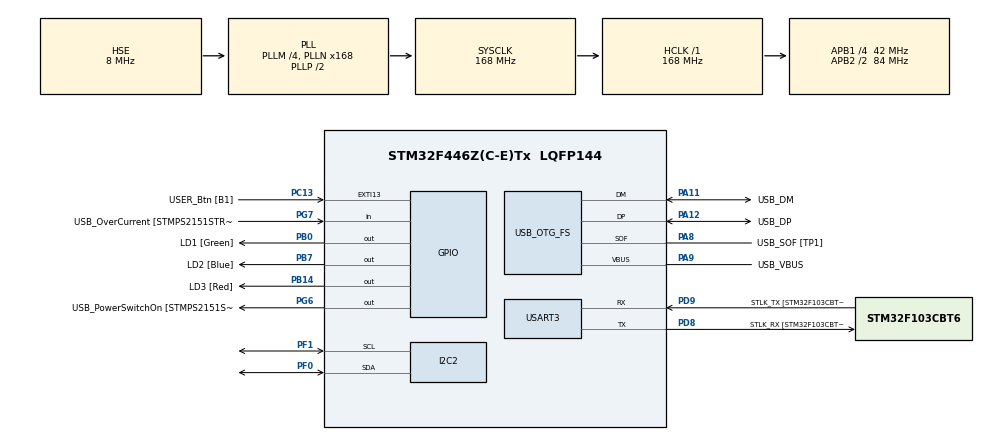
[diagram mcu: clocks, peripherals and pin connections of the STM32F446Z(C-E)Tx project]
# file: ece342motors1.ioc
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Dma.Request0=USART3_TX
Dma.USART3_TX.0.Direction=DMA_MEMORY_TO_PERIPH
Dma.USART3_TX.0.FIFOMode=DMA_FIFOMODE_DISABLE
Dma.USART3_TX.0.Instance=DMA1_Stream3
Dma.USART3_TX.0.MemDataAlignment=DMA_MDATAALIGN_BYTE
Dma.USART3_TX.0.MemInc=DMA_MINC_ENABLE
Dma.USART3_TX.0.Mode=DMA_NORMAL
Dma.USART3_TX.0.PeriphDataAlignment=DMA_PDATAALIGN_BYTE
Dma.USART3_TX.0.PeriphInc=DMA_PINC_DISABLE
Dma.USART3_TX.0.Priority=DMA_PRIORITY_LOW
Mcu.Family=STM32F4
Mcu.Name=STM32F446Z(C-E)Tx
Mcu.Package=LQFP144
NVIC.DMA1_Stream3_IRQn=true\:0\:0\:false\:false\:true\:false\:true\:true
NVIC.PriorityGroup=NVIC_PRIORITYGROUP_4
PA10.GPIO_Label=USB_ID
PA10.Signal=USB_OTG_FS_ID
PA11.GPIO_Label=USB_DM
PA11.Mode=Device_Only
PA11.Signal=USB_OTG_FS_DM
PA12.GPIO_Label=USB_DP
PA12.Mode=Device_Only
PA12.Signal=USB_OTG_FS_DP
PA13.GPIO_Label=TMS
PA13.Mode=Serial_Wire
PA13.Signal=SYS_JTMS-SWDIO
PA14.GPIO_Label=TCK
PA14.Mode=Serial_Wire
PA14.Signal=SYS_JTCK-SWCLK
PA8.GPIO_Label=USB_SOF [TP1]
PA8.Mode=Activate_SOF_FS
PA8.Signal=USB_OTG_FS_SOF
PA9.GPIO_Label=USB_VBUS
PA9.Mode=Activate_VBUS
PA9.Signal=USB_OTG_FS_VBUS
PB0.GPIO_Label=LD1 [Green]
PB0.Signal=GPIO_Output
PB14.GPIO_Label=LD3 [Red]
PB14.Signal=GPIO_Output
PB7.GPIO_Label=LD2 [Blue]
PB7.Signal=GPIO_Output
PC13.GPIO_Label=USER_Btn [B1]
PC13.Signal=GPXTI13
PC14-OSC32_IN.Mode=LSE-External-Oscillator
PC14-OSC32_IN.Signal=RCC_OSC32_IN
PC15-OSC32_OUT.Mode=LSE-External-Oscillator
PC15-OSC32_OUT.Signal=RCC_OSC32_OUT
PD8.GPIO_Label=STLK_RX [STM32F103CBT6_PA3]
PD8.Mode=Asynchronous
PD8.Signal=USART3_TX
PD9.GPIO_Label=STLK_TX [STM32F103CBT6_PA2]
PD9.Mode=Asynchronous
PD9.Signal=USART3_RX
PF0.Mode=I2C
PF0.Signal=I2C2_SDA
PF1.Mode=I2C
PF1.Signal=I2C2_SCL
PG6.GPIO_Label=USB_PowerSwitchOn [STMPS2151STR_EN]
PG6.Signal=GPIO_Output
PG7.GPIO_Label=USB_OverCurrent [STMPS2151STR_FAULT]
PG7.Signal=GPIO_Input
PH0-OSC_IN.GPIO_Label=MCO [STM32F103CBT6_PA8]
PH0-OSC_IN.Mode=HSE-External-Clock-Source
PH0-OSC_IN.Signal=RCC_OSC_IN
PH1-OSC_OUT.Mode=HSE-External-Clock-Source
PH1-OSC_OUT.Signal=RCC_OSC_OUT
ProjectManager.HeapSize=0x200
ProjectManager.StackSize=0x400
ProjectManager.TargetToolchain=STM32CubeIDE
RCC.48MHZClocksFreq_Value=24000000
RCC.AHBFreq_Value=168000000
RCC.APB1CLKDivider=RCC_HCLK_DIV4
RCC.APB1Freq_Value=42000000
RCC.APB1TimFreq_Value=84000000
RCC.APB2CLKDivider=RCC_HCLK_DIV2
RCC.APB2Freq_Value=84000000
RCC.APB2TimFreq_Value=168000000
RCC.CortexFreq_Value=168000000
RCC.HCLKFreq_Value=168000000
RCC.HSE_VALUE=8000000
RCC.HSI_VALUE=16000000
RCC.PLLM=4
RCC.PLLMUL=RCC_PLL_MUL9
RCC.PLLN=168
RCC.PLLQ=7
RCC.PRESCALERUSB=RCC_USBCLKSOURCE_PLL_DIV1_5
RCC.SYSCLKFreq_VALUE=168000000
RCC.SYSCLKSource=RCC_SYSCLKSOURCE_PLLCLK
RCC.SYSCLKSourceVirtual=RCC_SYSCLKSOURCE_PLLCLK
RCC.USBFreq_Value=48000000
RCC.VCOOutputFreq_Value=336000000
USART3.VirtualMode=VM_ASYNC
USB_OTG_FS.VirtualMode=Device_Only
board=NUCLEO-F446ZE

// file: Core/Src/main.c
/* USER CODE BEGIN Header */
/**
  ******************************************************************************
  * @file           : main.c
  * @brief          : Main program body
  ******************************************************************************
  * @attention
  *
  * Copyright (c) 2025 STMicroelectronics.
  * All rights reserved.
  *
  * This software is licensed under terms that can be found in the LICENSE file
  * in the root directory of this software component.
  * If no LICENSE file comes with this software, it is provided AS-IS.
  *
  ******************************************************************************
  */
/* USER CODE END Header */
#include "main.h"

I2C_HandleTypeDef hi2c2;

UART_HandleTypeDef huart3;
DMA_HandleTypeDef hdma_usart3_tx;

PCD_HandleTypeDef hpcd_USB_OTG_FS;

void SystemClock_Config(void);
static void MX_GPIO_Init(void);
static void MX_DMA_Init(void);
static void MX_USART3_UART_Init(void);
static void MX_USB_OTG_FS_PCD_Init(void);
static void MX_I2C2_Init(void);

/* USER CODE BEGIN 0 */
#define PCA9685_ADDRESS 0x80
// Datasheet link --> https://cdn-shop.adafruit.com/datasheets/PCA9685.pdf
#define PCA9685_MODE1         0x0         // as in the datasheet page no 10/52
#define PCA9685_PRE_SCALE     0xFE        // as in the datasheet page no 13/52
#define PCA9685_LED0_ON_L     0x6         // as in the datasheet page no 10/52
#define PCA9685_MODE1_SLEEP_BIT      4    // as in the datasheet page no 14/52
#define PCA9685_MODE1_AI_BIT         5    // as in the datasheet page no 14/52
#define PCA9685_MODE1_RESTART_BIT    7    // as in the datasheet page no 14/52

void PCA9685_SetBit(uint8_t Register, uint8_t Bit, uint8_t Value)
{
  uint8_t readValue;
  // Read all 8 bits and set only one bit to 0/1 and write all 8 bits back
  HAL_I2C_Mem_Read(&hi2c2, PCA9685_ADDRESS, Register, 1, &readValue, 1, 10);
  if (Value == 0) readValue &= ~(1 << Bit);
  else readValue |= (1 << Bit);
  HAL_I2C_Mem_Write(&hi2c2, PCA9685_ADDRESS, Register, 1, &readValue, 1, 10);
  HAL_Delay(1);
}

void PCA9685_SetPWMFrequency(uint16_t frequency)
{
  uint8_t prescale;
  if(frequency >= 1526) prescale = 0x03; // why?
  else if(frequency <= 24) prescale = 0xFF;
  //  internal 25 MHz oscillator as in the datasheet page no 1/52
  else prescale = 25000000 / (4096 * frequency);
  // prescale changes 3 to 255 for 1526Hz to 24Hz as in the datasheet page no 1/52
  PCA9685_SetBit(PCA9685_MODE1, PCA9685_MODE1_SLEEP_BIT, 1);
  HAL_I2C_Mem_Write(&hi2c2, PCA9685_ADDRESS, PCA9685_PRE_SCALE, 1, &prescale, 1, 10);
  PCA9685_SetBit(PCA9685_MODE1, PCA9685_MODE1_SLEEP_BIT, 0);
  PCA9685_SetBit(PCA9685_MODE1, PCA9685_MODE1_RESTART_BIT, 1);
}

void PCA9685_Init(uint16_t frequency)
{
  PCA9685_SetPWMFrequency(frequency); // 50 Hz for servo
  PCA9685_SetBit(PCA9685_MODE1, PCA9685_MODE1_AI_BIT, 1);
}

void PCA9685_SetPWM(uint8_t Channel, uint16_t OnTime, uint16_t OffTime)
{
  uint8_t registerAddress;
  uint8_t pwm[4];
  registerAddress = PCA9685_LED0_ON_L + (4 * Channel);
  // See example 1 in the datasheet page no 18/52
  pwm[0] = OnTime & 0xFF;
  pwm[1] = OnTime>>8;
  pwm[2] = OffTime & 0xFF;
  pwm[3] = OffTime>>8;
  HAL_I2C_Mem_Write(&hi2c2, PCA9685_ADDRESS, registerAddress, 1, pwm, 4, 10);
}

void PCA9685_SetServoAngle(uint8_t Channel, float Angle)
{
  float Value;
  // 50 Hz servo then 4095 Value --> 20 milliseconds
  // 0 degree --> 0.5 ms(102.4 Value) and 180 degree --> 2.5 ms(511.9 Value)
  Value = (Angle * (511.9 - 102.4) / 180.0) + 102.4;
  PCA9685_SetPWM(Channel, 0, (uint16_t)Value);
}

/* USER CODE END 0 */

int main(void)
{

  /* MCU Configuration--------------------------------------------------------*/

  /* Reset of all peripherals, Initializes the Flash interface and the Systick. */
  HAL_Init();

  /* Configure the system clock */
  SystemClock_Config();

  /* Initialize all configured peripherals */
  MX_GPIO_Init();
  MX_DMA_Init();
  MX_USART3_UART_Init();
  MX_USB_OTG_FS_PCD_Init();
  MX_I2C2_Init();
  /* USER CODE BEGIN 2 */
  PCA9685_Init(50); // 50Hz for servo

  /* USER CODE END 2 */

  /* Infinite loop */
  /* USER CODE BEGIN WHILE */
  while (1)
  {
	  PCA9685_SetServoAngle(9, 72);
	  HAL_GPIO_WritePin(LD1_GPIO_Port, LD1_Pin, GPIO_PIN_SET);
	  HAL_Delay(1000);

	  PCA9685_SetServoAngle(9, 108);
	  HAL_GPIO_WritePin(LD1_GPIO_Port, LD1_Pin, GPIO_PIN_RESET);
	  HAL_Delay(1000);

	  // check whats written:
	  HAL_I2C_Mem_Read(&hi2c2, PCA9685_ADDRESS, Register, 1, &readValue, 1, 10);

	  	PCA9685_SetServoAngle(5, 0);
		PCA9685_SetServoAngle(7, 36);
		PCA9685_SetServoAngle(9, 72);
		PCA9685_SetServoAngle(11, 108);
		PCA9685_SetServoAngle(13, 144);
		PCA9685_SetServoAngle(15, 180);
		HAL_Delay(1000);

		PCA9685_SetServoAngle(5, 36);
		PCA9685_SetServoAngle(7, 72);
		PCA9685_SetServoAngle(9, 108);
		PCA9685_SetServoAngle(11, 144);
		PCA9685_SetServoAngle(13, 180);
		PCA9685_SetServoAngle(15, 0);
		HAL_Delay(1000);

		PCA9685_SetServoAngle(5, 72);
		PCA9685_SetServoAngle(7, 108);
		PCA9685_SetServoAngle(9, 144);
		PCA9685_SetServoAngle(11, 180);
		PCA9685_SetServoAngle(13, 0);
		PCA9685_SetServoAngle(15, 36);
		HAL_Delay(1000);

		PCA9685_SetServoAngle(5, 108);
		PCA9685_SetServoAngle(7, 144);
		PCA9685_SetServoAngle(9, 180);
		PCA9685_SetServoAngle(11, 0);
		PCA9685_SetServoAngle(13, 36);
		PCA9685_SetServoAngle(15, 72);
		HAL_Delay(1000);

		PCA9685_SetServoAngle(5, 144);
		PCA9685_SetServoAngle(7, 180);
		PCA9685_SetServoAngle(9, 0);
		PCA9685_SetServoAngle(11, 36);
		PCA9685_SetServoAngle(13, 72);
		PCA9685_SetServoAngle(15, 108);
		HAL_Delay(1000);

		PCA9685_SetServoAngle(5, 180);
		PCA9685_SetServoAngle(7, 0);
		PCA9685_SetServoAngle(9, 36);
		PCA9685_SetServoAngle(11, 72);
		PCA9685_SetServoAngle(13, 108);
		PCA9685_SetServoAngle(15, 144);
		HAL_Delay(1000);
    /* USER CODE END WHILE */

  }
}

void SystemClock_Config(void)
{
  RCC_OscInitTypeDef RCC_OscInitStruct = {0};
  RCC_ClkInitTypeDef RCC_ClkInitStruct = {0};

  /** Configure the main internal regulator output voltage
  */
  __HAL_RCC_PWR_CLK_ENABLE();
  __HAL_PWR_VOLTAGESCALING_CONFIG(PWR_REGULATOR_VOLTAGE_SCALE1);

  /** Initializes the RCC Oscillators according to the specified parameters
  * in the RCC_OscInitTypeDef structure.
  */
  RCC_OscInitStruct.OscillatorType = RCC_OSCILLATORTYPE_HSE;
  RCC_OscInitStruct.HSEState = RCC_HSE_BYPASS;
  RCC_OscInitStruct.PLL.PLLState = RCC_PLL_ON;
  RCC_OscInitStruct.PLL.PLLSource = RCC_PLLSOURCE_HSE;
  RCC_OscInitStruct.PLL.PLLM = 4;
  RCC_OscInitStruct.PLL.PLLN = 168;
  RCC_OscInitStruct.PLL.PLLP = RCC_PLLP_DIV2;
  RCC_OscInitStruct.PLL.PLLQ = 7;
  RCC_OscInitStruct.PLL.PLLR = 2;
  if (HAL_RCC_OscConfig(&RCC_OscInitStruct) != HAL_OK)
  {
    Error_Handler();
  }

  /** Initializes the CPU, AHB and APB buses clocks
  */
  RCC_ClkInitStruct.ClockType = RCC_CLOCKTYPE_HCLK|RCC_CLOCKTYPE_SYSCLK
                              |RCC_CLOCKTYPE_PCLK1|RCC_CLOCKTYPE_PCLK2;
  RCC_ClkInitStruct.SYSCLKSource = RCC_SYSCLKSOURCE_PLLCLK;
  RCC_ClkInitStruct.AHBCLKDivider = RCC_SYSCLK_DIV1;
  RCC_ClkInitStruct.APB1CLKDivider = RCC_HCLK_DIV4;
  RCC_ClkInitStruct.APB2CLKDivider = RCC_HCLK_DIV2;

  if (HAL_RCC_ClockConfig(&RCC_ClkInitStruct, FLASH_LATENCY_5) != HAL_OK)
  {
    Error_Handler();
  }
}

static void MX_I2C2_Init(void)
{

  hi2c2.Instance = I2C2;
  hi2c2.Init.ClockSpeed = 100000;
  hi2c2.Init.DutyCycle = I2C_DUTYCYCLE_2;
  hi2c2.Init.OwnAddress1 = 0;
  hi2c2.Init.AddressingMode = I2C_ADDRESSINGMODE_7BIT;
  hi2c2.Init.DualAddressMode = I2C_DUALADDRESS_DISABLE;
  hi2c2.Init.OwnAddress2 = 0;
  hi2c2.Init.GeneralCallMode = I2C_GENERALCALL_DISABLE;
  hi2c2.Init.NoStretchMode = I2C_NOSTRETCH_DISABLE;
  if (HAL_I2C_Init(&hi2c2) != HAL_OK)
  {
    Error_Handler();
  }

}

static void MX_USART3_UART_Init(void)
{

  huart3.Instance = USART3;
  huart3.Init.BaudRate = 115200;
  huart3.Init.WordLength = UART_WORDLENGTH_8B;
  huart3.Init.StopBits = UART_STOPBITS_1;
  huart3.Init.Parity = UART_PARITY_NONE;
  huart3.Init.Mode = UART_MODE_TX_RX;
  huart3.Init.HwFlowCtl = UART_HWCONTROL_NONE;
  huart3.Init.OverSampling = UART_OVERSAMPLING_16;
  if (HAL_UART_Init(&huart3) != HAL_OK)
  {
    Error_Handler();
  }

}

static void MX_USB_OTG_FS_PCD_Init(void)
{

  hpcd_USB_OTG_FS.Instance = USB_OTG_FS;
  hpcd_USB_OTG_FS.Init.dev_endpoints = 6;
  hpcd_USB_OTG_FS.Init.speed = PCD_SPEED_FULL;
  hpcd_USB_OTG_FS.Init.dma_enable = DISABLE;
  hpcd_USB_OTG_FS.Init.phy_itface = PCD_PHY_EMBEDDED;
  hpcd_USB_OTG_FS.Init.Sof_enable = ENABLE;
  hpcd_USB_OTG_FS.Init.low_power_enable = DISABLE;
  hpcd_USB_OTG_FS.Init.lpm_enable = DISABLE;
  hpcd_USB_OTG_FS.Init.vbus_sensing_enable = ENABLE;
  hpcd_USB_OTG_FS.Init.use_dedicated_ep1 = DISABLE;
  if (HAL_PCD_Init(&hpcd_USB_OTG_FS) != HAL_OK)
  {
    Error_Handler();
  }

}

static void MX_DMA_Init(void)
{

  /* DMA controller clock enable */
  __HAL_RCC_DMA1_CLK_ENABLE();

  /* DMA interrupt init */
  /* DMA1_Stream3_IRQn interrupt configuration */
  HAL_NVIC_SetPriority(DMA1_Stream3_IRQn, 0, 0);
  HAL_NVIC_EnableIRQ(DMA1_Stream3_IRQn);

}

static void MX_GPIO_Init(void)
{
  GPIO_InitTypeDef GPIO_InitStruct = {0};

  /* GPIO Ports Clock Enable */
  __HAL_RCC_GPIOC_CLK_ENABLE();
  __HAL_RCC_GPIOF_CLK_ENABLE();
  __HAL_RCC_GPIOH_CLK_ENABLE();
  __HAL_RCC_GPIOB_CLK_ENABLE();
  __HAL_RCC_GPIOD_CLK_ENABLE();
  __HAL_RCC_GPIOG_CLK_ENABLE();
  __HAL_RCC_GPIOA_CLK_ENABLE();

  /*Configure GPIO pin Output Level */
  HAL_GPIO_WritePin(GPIOB, LD1_Pin|LD3_Pin|LD2_Pin, GPIO_PIN_RESET);

  /*Configure GPIO pin Output Level */
  HAL_GPIO_WritePin(USB_PowerSwitchOn_GPIO_Port, USB_PowerSwitchOn_Pin, GPIO_PIN_RESET);

  /*Configure GPIO pin : USER_Btn_Pin */
  GPIO_InitStruct.Pin = USER_Btn_Pin;
  GPIO_InitStruct.Mode = GPIO_MODE_IT_RISING;
  GPIO_InitStruct.Pull = GPIO_NOPULL;
  HAL_GPIO_Init(USER_Btn_GPIO_Port, &GPIO_InitStruct);

  /*Configure GPIO pins : LD1_Pin LD3_Pin LD2_Pin */
  GPIO_InitStruct.Pin = LD1_Pin|LD3_Pin|LD2_Pin;
  GPIO_InitStruct.Mode = GPIO_MODE_OUTPUT_PP;
  GPIO_InitStruct.Pull = GPIO_NOPULL;
  GPIO_InitStruct.Speed = GPIO_SPEED_FREQ_LOW;
  HAL_GPIO_Init(GPIOB, &GPIO_InitStruct);

  /*Configure GPIO pin : USB_PowerSwitchOn_Pin */
  GPIO_InitStruct.Pin = USB_PowerSwitchOn_Pin;
  GPIO_InitStruct.Mode = GPIO_MODE_OUTPUT_PP;
  GPIO_InitStruct.Pull = GPIO_NOPULL;
  GPIO_InitStruct.Speed = GPIO_SPEED_FREQ_LOW;
  HAL_GPIO_Init(USB_PowerSwitchOn_GPIO_Port, &GPIO_InitStruct);

  /*Configure GPIO pin : USB_OverCurrent_Pin */
  GPIO_InitStruct.Pin = USB_OverCurrent_Pin;
  GPIO_InitStruct.Mode = GPIO_MODE_INPUT;
  GPIO_InitStruct.Pull = GPIO_NOPULL;
  HAL_GPIO_Init(USB_OverCurrent_GPIO_Port, &GPIO_InitStruct);

}

void Error_Handler(void)
{
  __disable_irq();
  while (1)
  {
  }
}
